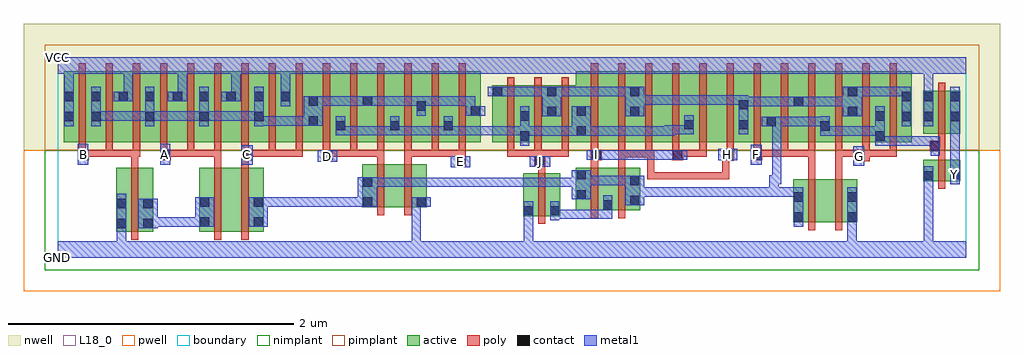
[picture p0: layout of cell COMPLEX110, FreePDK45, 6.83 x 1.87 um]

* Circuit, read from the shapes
.subckt COMPLEX110 A B C D E F G GND H I J VCC Y
M1 n1 B GND VSUBS nfet w=0.45u l=0.05u
M2 n2 A n1 VSUBS nfet w=0.45u l=0.05u
M3 n3 C n2 VSUBS nfet w=0.45u l=0.05u
M4 n4 D n3 VSUBS nfet w=0.3u l=0.05u
M5 GND E n4 VSUBS nfet w=0.3u l=0.05u
M6 n5 J GND VSUBS nfet w=0.3u l=0.05u
M7 n5 I n3 VSUBS nfet w=0.3u l=0.05u
M8 n3 H n5 VSUBS nfet w=0.3u l=0.05u
M9 n6 F n3 VSUBS nfet w=0.3u l=0.05u
M10 GND G n6 VSUBS nfet w=0.3u l=0.05u
M11 Y n3 GND VSUBS nfet w=0.15u l=0.05u
M12 n7 B VCC n8 pfet w=0.5u l=0.05u m=3
M13 VCC A n7 n8 pfet w=0.5u l=0.05u m=3
M14 n7 C VCC n8 pfet w=0.5u l=0.05u m=3
M15 n9 D n7 n8 pfet w=0.5u l=0.05u m=3
M16 n7 E n9 n8 pfet w=0.5u l=0.05u m=3
M17 n9 J n10 n8 pfet w=0.4u l=0.05u m=3
M18 n11 I n9 n8 pfet w=0.5u l=0.05u
M19 n10 H n11 n8 pfet w=0.5u l=0.05u
M20 n12 H n10 n8 pfet w=0.5u l=0.05u
M21 n9 I n12 n8 pfet w=0.5u l=0.05u
M22 n13 I n9 n8 pfet w=0.5u l=0.05u
M23 n10 H n13 n8 pfet w=0.5u l=0.05u
M24 n3 F n10 n8 pfet w=0.5u l=0.05u m=3
M25 n10 G n3 n8 pfet w=0.5u l=0.05u m=3
M26 Y n3 VCC n8 pfet w=0.3u l=0.05u
.ends

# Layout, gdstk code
import gdstk
lib = gdstk.Library(unit=1e-6, precision=1e-09)
def R(c, l, rs):  # rectangles x0, y0, x1, y1
    for r in rs: c.add(gdstk.rectangle(r[:2], r[2:], *l))
def A(c, l, x, y, w, h, nx, ny, dx, dy):  # array of equal rectangles
    R(c, l, [(x+i*dx, y+j*dy, x+i*dx+w, y+j*dy+h) for i in range(nx) for j in range(ny)])
active = (1, 0)
pwell = (2, 0)
nwell = (3, 0)
nimplant = (4, 0)
pimplant = (5, 0)
poly = (9, 0)
contact = (10, 0)
metal1 = (11, 0)
L18_0 = (18, 0)
boundary = (235, 0)

complex110 = lib.new_cell('COMPLEX110')
A(complex110, active, 0.042, 0.805, 0.075, 0.5, 3, 1, 0.38, 0)
A(complex110, active, 1.372, 0.805, 0.075, 0.395, 3, 1, 0.38, 0)
A(complex110, active, 1.752, 0.805, 0.265, 0.5, 3, 1, 0.19, 0)
A(complex110, active, 3.852, 0.805, 0.225, 0.5, 3, 1, 0.38, 0)
R(complex110, active, [(0.41,0.18,0.67,0.63), (0.992,0.18,1.217,0.63), (1.217,0.18,1.442,0.63), (0.41,0.2,0.485,0.63), (0.595,0.2,0.67,0.63), (0.992,0.2,1.067,0.63), (1.367,0.2,1.442,0.63), (5.147,0.247,5.222,0.547), (5.147,0.247,5.372,0.547), (5.372,0.247,5.597,0.547), (5.522,0.247,5.597,0.547), (3.257,0.29,3.517,0.59), (3.257,0.29,3.332,0.392), (3.442,0.29,3.517,0.392), (3.627,0.33,3.887,0.63), (3.812,0.33,4.077,0.63), (3.812,0.33,3.887,0.405), (3.627,0.332,3.702,0.63), (4.002,0.332,4.077,0.63), (2.132,0.352,2.207,0.652), (2.132,0.352,2.357,0.652), (2.357,0.352,2.582,0.652), (2.507,0.352,2.582,0.652), (6.057,0.535,6.317,0.685), (6.057,0.535,6.132,0.685), (6.242,0.542,6.317,0.685), (0.042,0.805,0.307,1.305), (0.232,0.805,0.307,1.2), (0.232,0.805,0.497,1.305), (0.422,0.805,0.682,1.305), (0.607,0.805,0.682,1.2), (0.607,0.805,0.877,1.305), (0.802,0.805,1.062,1.305), (0.987,0.805,1.062,1.2), (0.987,0.805,1.252,1.305), (1.177,0.805,1.447,1.305), (1.372,0.805,1.632,1.305), (1.557,0.805,1.827,1.305), (1.557,0.805,1.632,1.305), (1.942,0.805,2.017,1.07), (2.322,0.805,2.582,1.305), (2.322,0.805,2.397,1.07), (2.507,0.805,2.582,1.2), (2.507,0.805,2.772,1.305), (2.697,0.805,2.772,1.07), (2.697,0.805,2.962,1.305), (2.887,0.805,2.962,1.2), (3.042,0.805,3.117,1.2), (3.042,0.805,3.307,1.205), (3.232,0.805,3.307,1.07), (3.232,0.805,3.495,1.205), (3.42,0.805,3.495,1.2), (3.42,0.805,3.702,1.205), (3.627,0.805,3.702,1.07), (3.627,0.805,3.852,1.305), (4.002,0.805,4.077,1.2), (4.002,0.805,4.232,1.305), (4.382,0.805,4.457,1.07), (4.382,0.805,4.612,1.305), (4.762,0.805,4.837,1.2), (4.762,0.805,5.032,1.305), (4.957,0.805,5.032,1.07), (4.957,0.805,5.222,1.305), (5.147,0.805,5.222,1.2), (5.147,0.805,5.407,1.305), (5.332,0.805,5.407,1.07), (5.332,0.805,5.6,1.305), (5.525,0.805,5.6,1.2), (5.525,0.805,5.792,1.305), (5.717,0.805,5.977,1.305), (5.717,0.805,5.792,1.07), (5.902,0.805,5.977,1.2), (1.177,0.807,1.252,1.305), (6.057,0.867,6.132,1.167), (6.057,0.867,6.317,1.167), (6.242,0.867,6.317,1.165)])
R(complex110, pwell, [(-0.235,-0.235,6.595,0.75)])
R(complex110, nwell, [(-0.235,0.75,6.595,1.635)])
R(complex110, nimplant, [(-0.09,-0.09,6.45,0.75)])
R(complex110, pimplant, [(-0.09,0.75,6.45,1.49)])
A(complex110, poly, 0.147, 0.705, 0.05, 0.095, 15, 1, 0.19, 0)
A(complex110, poly, 0.907, 0.705, 0.24, 0.05, 3, 1, 0.57, 0)
A(complex110, poly, 3.147, 0.705, 0.05, 0.095, 3, 1, 0.19, 0)
A(complex110, poly, 4.872, 0.705, 0.05, 0.095, 6, 1, 0.19, 0)
A(complex110, poly, 0.147, 0.75, 0.05, 0.61, 15, 1, 0.19, 0)
A(complex110, poly, 3.147, 0.75, 0.05, 0.51, 3, 1, 0.19, 0)
A(complex110, poly, 3.732, 0.75, 0.05, 0.61, 12, 1, 0.19, 0)
R(complex110, poly, [(0.515,0.125,0.565,0.685), (1.097,0.125,1.147,0.685), (1.287,0.125,1.337,0.685), (5.252,0.192,5.302,0.602), (5.442,0.192,5.492,0.602), (3.362,0.235,3.412,0.645), (3.732,0.275,3.782,0.685), (3.922,0.275,3.972,0.685), (2.237,0.297,2.287,0.707), (2.427,0.297,2.477,0.707), (6.162,0.48,6.212,0.74), (4.127,0.547,4.177,0.597), (4.127,0.547,4.177,0.597), (4.127,0.547,4.177,0.597), (4.127,0.547,4.177,0.597), (4.127,0.547,4.177,0.597), (4.127,0.547,4.41,0.597), (4.127,0.547,4.177,0.752), (4.36,0.547,4.41,0.597), (4.36,0.547,4.41,0.597), (4.36,0.547,4.41,0.597), (4.36,0.547,4.57,0.597), (4.52,0.547,4.57,0.597), (4.52,0.547,4.702,0.597), (4.652,0.547,4.702,0.597), (4.652,0.547,4.702,0.597), (4.652,0.547,4.702,0.597), (4.652,0.547,4.702,0.727), (5.252,0.552,5.302,0.755), (5.442,0.552,5.492,0.755), (3.362,0.595,3.412,0.69), (0.515,0.635,0.565,0.755), (1.097,0.635,1.147,0.755), (1.287,0.635,1.337,0.73), (3.732,0.635,3.782,0.73), (3.922,0.635,3.972,0.752), (2.782,0.64,2.857,0.755), (3.337,0.64,3.412,0.755), (2.237,0.657,2.287,0.755), (2.427,0.657,2.477,0.755), (5.575,0.675,5.682,0.755), (4.652,0.677,4.702,0.727), (4.652,0.677,4.702,0.727), (4.652,0.677,4.732,0.752), (0.142,0.68,0.217,0.755), (0.717,0.68,0.792,0.755), (1.287,0.68,1.362,0.755), (1.852,0.68,1.927,0.755), (3.732,0.68,3.807,0.755), (4.302,0.68,4.377,0.755), (4.857,0.68,4.932,0.755), (6.162,0.69,6.212,0.792), (3.922,0.702,3.972,0.752), (3.922,0.702,3.972,0.752), (3.922,0.702,3.972,0.752), (3.922,0.702,4.162,0.752), (3.922,0.702,3.972,0.8), (4.112,0.702,4.162,0.8), (4.112,0.702,4.177,0.752), (4.682,0.702,4.732,0.8), (0.167,0.705,0.387,0.755), (0.337,0.705,0.387,0.755), (0.337,0.705,0.387,0.755), (0.337,0.705,0.387,0.755), (0.337,0.705,0.565,0.755), (0.515,0.705,0.565,0.755), (0.515,0.705,0.565,0.755), (0.515,0.705,0.577,0.755), (0.742,0.705,0.792,0.755), (0.742,0.705,0.792,0.755), (0.742,0.705,0.957,0.755), (0.907,0.705,0.957,0.755), (0.907,0.705,0.957,0.755), (0.907,0.705,0.957,0.755), (1.097,0.705,1.147,0.755), (1.312,0.705,1.527,0.755), (1.477,0.705,1.527,0.755), (1.477,0.705,1.527,0.755), (1.477,0.705,1.527,0.755), (1.667,0.705,1.717,0.755), (1.667,0.705,1.717,0.755), (1.667,0.705,1.717,0.755), (1.877,0.705,2.097,0.755), (2.047,0.705,2.097,0.755), (2.047,0.705,2.097,0.755), (2.047,0.705,2.097,0.755), (2.237,0.705,2.287,0.755), (2.237,0.705,2.287,0.755), (2.237,0.705,2.287,0.755), (2.427,0.705,2.477,0.755), (2.427,0.705,2.477,0.755), (2.427,0.705,2.477,0.755), (2.427,0.705,2.667,0.755), (2.617,0.705,2.667,0.755), (2.617,0.705,2.832,0.755), (2.782,0.705,2.832,0.755), (2.782,0.705,2.832,0.755), (3.147,0.705,3.197,0.755), (3.147,0.705,3.387,0.755), (3.337,0.705,3.387,0.755), (3.337,0.705,3.387,0.755), (3.362,0.705,3.577,0.755), (3.527,0.705,3.577,0.755), (3.527,0.705,3.577,0.755), (3.527,0.705,3.577,0.755), (3.732,0.705,3.782,0.8), (4.302,0.705,4.352,0.8), (4.327,0.705,4.542,0.755), (4.492,0.705,4.542,0.8), (4.492,0.705,4.542,0.755), (4.492,0.705,4.542,0.755), (4.492,0.705,4.542,0.755), (4.882,0.705,4.932,0.755), (4.882,0.705,4.932,0.755), (4.882,0.705,5.112,0.755), (5.062,0.705,5.112,0.755), (5.062,0.705,5.302,0.755), (5.252,0.705,5.302,0.755), (5.252,0.705,5.302,0.755), (5.252,0.705,5.302,0.755), (5.442,0.705,5.492,0.755), (5.442,0.705,5.492,0.755), (5.442,0.705,5.492,0.755), (5.442,0.705,5.625,0.755), (5.632,0.705,5.872,0.755), (5.822,0.705,5.872,0.755), (5.822,0.705,5.872,0.755), (5.822,0.705,5.872,0.755), (6.105,0.742,6.212,0.817), (6.162,0.767,6.212,0.862), (6.162,0.812,6.212,1.222)])
A(complex110, contact, 0.047, 1.095, 0.065, 0.065, 3, 1, 0.19, 0)
R(complex110, contact, [(0.415,0.205,0.48,0.27), (0.6,0.205,0.665,0.27), (0.997,0.217,1.062,0.282), (1.372,0.217,1.437,0.282), (5.152,0.252,5.217,0.317), (5.527,0.252,5.592,0.317), (3.262,0.295,3.327,0.36), (3.447,0.295,3.512,0.36), (3.817,0.335,3.882,0.4), (0.415,0.345,0.48,0.41), (0.6,0.345,0.665,0.41), (0.997,0.357,1.062,0.422), (1.372,0.357,1.437,0.422), (2.137,0.357,2.202,0.422), (2.512,0.357,2.577,0.422), (4.007,0.367,4.072,0.432), (5.152,0.392,5.217,0.457), (5.527,0.392,5.592,0.457), (3.632,0.407,3.697,0.472), (2.137,0.497,2.202,0.562), (4.007,0.507,4.072,0.572), (6.062,0.54,6.127,0.605), (3.632,0.547,3.697,0.612), (6.247,0.547,6.312,0.612), (2.787,0.645,2.852,0.71), (3.342,0.645,3.407,0.71), (5.58,0.68,5.645,0.745), (4.657,0.682,4.722,0.747), (0.147,0.685,0.212,0.75), (0.722,0.685,0.787,0.75), (1.292,0.685,1.357,0.75), (1.857,0.685,1.922,0.75), (3.737,0.685,3.802,0.75), (4.307,0.685,4.372,0.75), (4.862,0.685,4.927,0.75), (6.11,0.747,6.175,0.812), (3.237,0.817,3.302,0.882), (5.722,0.817,5.787,0.882), (3.632,0.852,3.697,0.917), (5.337,0.887,5.402,0.952), (1.947,0.89,2.012,0.955), (2.327,0.89,2.392,0.955), (2.702,0.89,2.767,0.955), (4.387,0.897,4.452,0.962), (4.767,0.897,4.832,0.962), (4.962,0.92,5.027,0.985), (1.757,0.922,1.822,0.987), (0.047,0.955,0.112,1.02), (0.237,0.955,0.302,1.02), (0.612,0.955,0.677,1.02), (0.992,0.955,1.057,1.02), (1.377,0.955,1.442,1.02), (5.907,0.955,5.972,1.02), (6.062,0.955,6.127,1.02), (6.247,0.955,6.312,1.02), (3.237,0.957,3.302,1.022), (5.722,0.957,5.787,1.022), (3.425,0.99,3.49,1.055), (4.007,0.99,4.072,1.055), (5.53,0.99,5.595,1.055), (2.892,0.992,2.957,1.057), (3.632,0.992,3.697,1.057), (2.512,1.027,2.577,1.092), (4.767,1.037,4.832,1.102), (5.152,1.06,5.217,1.125), (1.757,1.062,1.822,1.127), (2.137,1.062,2.202,1.127), (0.612,1.095,0.677,1.16), (0.807,1.095,0.872,1.16), (0.992,1.095,1.057,1.16), (1.182,1.095,1.247,1.16), (1.377,1.095,1.442,1.16), (1.562,1.095,1.627,1.16), (5.907,1.095,5.972,1.16), (6.062,1.095,6.127,1.16), (6.247,1.095,6.312,1.16), (3.047,1.13,3.112,1.195), (3.425,1.13,3.49,1.195), (4.007,1.13,4.072,1.195), (5.53,1.13,5.595,1.195)])
R(complex110, metal1, [(0,0,6.36,0.115), (0.415,0.05,0.48,0.115), (0.415,0.05,0.48,0.115), (0.415,0.05,0.48,0.235), (2.477,0.05,2.542,0.115), (2.477,0.05,2.542,0.115), (2.477,0.05,2.542,0.422), (3.262,0.05,3.327,0.325), (3.262,0.05,3.327,0.115), (3.262,0.05,3.327,0.115), (3.262,0.05,3.327,0.115), (3.262,0.05,3.327,0.115), (5.527,0.05,5.592,0.115), (5.527,0.05,5.592,0.115), (5.527,0.05,5.592,0.282), (6.062,0.05,6.127,0.115), (6.062,0.05,6.127,0.115), (6.062,0.05,6.127,0.115), (6.062,0.05,6.127,0.115), (6.062,0.05,6.127,0.115), (6.062,0.05,6.127,0.115), (6.062,0.05,6.127,0.57), (0.415,0.17,0.48,0.445), (0.565,0.205,0.7,0.41), (0.635,0.217,0.89,0.282), (0.825,0.217,0.89,0.282), (0.825,0.217,0.89,0.282), (0.825,0.217,0.89,0.282), (0.825,0.217,1.027,0.282), (0.962,0.217,1.027,0.282), (0.962,0.217,1.027,0.282), (0.962,0.217,1.097,0.422), (1.337,0.217,1.472,0.422), (5.152,0.217,5.217,0.492), (5.527,0.217,5.592,0.492), (5.527,0.217,5.592,0.282), (5.527,0.217,5.592,0.282), (3.262,0.26,3.327,0.395), (3.447,0.26,3.512,0.395), (3.447,0.27,3.512,0.335), (3.447,0.27,3.512,0.335), (3.447,0.27,3.732,0.335), (3.667,0.27,3.732,0.335), (3.667,0.27,3.732,0.335), (3.667,0.27,3.732,0.335), (3.667,0.27,3.882,0.335), (3.817,0.27,3.882,0.435), (1.407,0.357,1.472,0.422), (1.407,0.357,1.472,0.422), (1.407,0.357,1.65,0.422), (1.585,0.357,1.65,0.422), (1.585,0.357,1.65,0.422), (1.585,0.357,1.65,0.422), (1.585,0.357,1.787,0.422), (1.722,0.357,1.787,0.422), (1.722,0.357,1.787,0.422), (1.722,0.357,1.787,0.422), (1.722,0.357,2.03,0.422), (1.965,0.357,2.03,0.422), (1.965,0.357,2.03,0.422), (1.965,0.357,2.03,0.422), (1.965,0.357,2.167,0.422), (2.102,0.357,2.237,0.562), (2.477,0.357,2.542,0.422), (2.477,0.357,2.542,0.422), (2.477,0.357,2.612,0.422), (3.972,0.367,4.107,0.572), (3.597,0.407,3.732,0.612), (4.042,0.427,4.175,0.492), (4.11,0.427,4.175,0.492), (4.11,0.427,4.315,0.492), (4.25,0.427,4.315,0.492), (4.25,0.427,4.315,0.492), (4.25,0.427,4.315,0.492), (4.25,0.427,4.452,0.492), (4.387,0.427,4.452,0.492), (4.387,0.427,4.452,0.492), (4.387,0.427,4.452,0.492), (4.387,0.427,4.695,0.492), (4.63,0.427,4.695,0.492), (4.63,0.427,4.695,0.492), (4.63,0.427,4.695,0.492), (4.63,0.427,4.832,0.492), (4.767,0.427,4.832,0.492), (4.767,0.427,4.832,0.492), (4.767,0.427,4.832,0.492), (4.767,0.427,5.045,0.492), (4.98,0.427,5.045,0.492), (4.98,0.427,5.217,0.492), (4.98,0.427,5.045,0.577), (5.152,0.427,5.217,0.492), (5.152,0.427,5.217,0.492), (2.172,0.495,2.237,0.56), (2.172,0.495,2.237,0.56), (2.172,0.495,2.405,0.56), (2.34,0.495,2.405,0.56), (2.34,0.495,2.405,0.56), (2.34,0.495,2.405,0.56), (2.34,0.495,2.542,0.56), (2.477,0.495,2.542,0.56), (2.477,0.495,2.542,0.56), (2.477,0.495,2.542,0.56), (2.477,0.495,2.785,0.56), (2.72,0.495,2.785,0.56), (2.72,0.495,2.94,0.56), (2.875,0.495,2.94,0.56), (2.875,0.495,2.94,0.56), (2.875,0.495,2.94,0.56), (2.875,0.495,2.94,0.56), (2.875,0.495,2.94,0.56), (2.875,0.495,3.165,0.56), (3.1,0.495,3.165,0.56), (3.1,0.495,3.165,0.56), (3.1,0.495,3.165,0.56), (3.1,0.495,3.302,0.56), (3.237,0.495,3.302,0.56), (3.237,0.495,3.302,0.56), (3.237,0.495,3.302,0.56), (3.237,0.495,3.465,0.56), (3.4,0.495,3.465,0.56), (3.4,0.495,3.465,0.56), (3.4,0.495,3.465,0.56), (3.4,0.495,3.662,0.56), (6.062,0.505,6.127,0.64), (3.667,0.507,3.9,0.572), (3.835,0.507,3.9,0.572), (3.835,0.507,3.9,0.572), (3.835,0.507,3.9,0.572), (3.835,0.507,4.037,0.572), (3.972,0.507,4.037,0.572), (3.972,0.507,4.037,0.572), (4.98,0.512,5.065,0.577), (5,0.512,5.065,0.577), (5,0.512,5.065,0.577), (5,0.512,5.065,0.985), (6.247,0.512,6.312,0.647), (6.247,0.582,6.312,0.985), (6.247,0.582,6.312,0.647), (6.247,0.582,6.312,0.647), (6.247,0.582,6.312,0.647), (6.247,0.582,6.312,0.647), (2.752,0.632,2.887,0.71), (3.305,0.637,3.447,0.71), (5.567,0.642,5.645,0.78), (0.142,0.65,0.215,0.795), (0.717,0.65,0.787,0.797), (1.287,0.65,1.365,0.787), (4.852,0.65,4.927,0.79), (1.822,0.672,1.957,0.75), (4.622,0.682,4.757,0.76), (3.702,0.685,3.837,0.752), (3.772,0.685,3.87,0.75), (3.805,0.685,3.87,0.75), (3.805,0.685,4.037,0.75), (3.972,0.685,4.037,0.75), (3.972,0.685,4.037,0.75), (3.972,0.685,4.037,0.75), (3.972,0.685,4.175,0.75), (4.11,0.685,4.175,0.75), (4.11,0.685,4.245,0.75), (4.18,0.685,4.245,0.75), (4.18,0.685,4.337,0.75), (4.272,0.685,4.407,0.75), (6.11,0.712,6.175,0.847), (3.237,0.782,3.302,1.057), (5.722,0.782,5.787,1.057), (5.722,0.782,5.99,0.847), (5.925,0.782,5.99,0.847), (5.925,0.782,5.99,0.847), (5.925,0.782,5.99,0.847), (5.925,0.782,5.99,0.847), (5.925,0.782,5.99,0.847), (5.925,0.782,5.99,0.847), (5.925,0.782,5.99,0.847), (5.925,0.782,6.175,0.847), (6.11,0.782,6.175,0.847), (6.11,0.782,6.175,0.847), (3.237,0.852,3.302,0.917), (3.237,0.852,3.302,0.917), (3.237,0.852,3.525,0.917), (3.46,0.852,3.525,0.917), (3.46,0.852,3.525,0.917), (3.46,0.852,3.525,0.917), (3.46,0.852,3.662,0.917), (3.597,0.852,3.732,1.057), (3.667,0.852,3.87,0.917), (3.805,0.852,3.87,0.917), (3.805,0.852,3.87,0.917), (3.805,0.852,3.87,0.917), (3.805,0.852,4.037,0.917), (3.972,0.852,4.037,0.917), (3.972,0.852,4.037,0.917), (3.972,0.852,4.037,0.917), (3.972,0.852,4.175,0.917), (4.11,0.852,4.175,0.917), (4.11,0.852,4.315,0.917), (4.25,0.852,4.315,0.917), (4.25,0.852,4.315,0.917), (4.25,0.852,4.315,0.927), (5.337,0.852,5.402,0.987), (5.337,0.852,5.492,0.917), (5.427,0.852,5.492,0.917), (5.427,0.852,5.65,0.917), (5.585,0.852,5.65,0.917), (5.585,0.852,5.787,0.917), (5.722,0.852,5.787,0.917), (5.722,0.852,5.787,0.917), (1.947,0.855,2.012,0.99), (1.947,0.855,2.1,0.92), (2.035,0.855,2.1,0.92), (2.035,0.855,2.255,0.92), (2.19,0.855,2.255,0.92), (2.19,0.855,2.255,0.92), (2.19,0.855,2.255,0.92), (2.19,0.855,2.392,0.92), (2.327,0.855,2.392,0.92), (2.327,0.855,2.392,0.92), (2.327,0.855,2.392,0.99), (2.327,0.855,2.542,0.92), (2.477,0.855,2.542,0.92), (2.477,0.855,2.542,0.92), (2.477,0.855,2.542,0.92), (2.477,0.855,2.767,0.92), (2.702,0.855,2.767,0.99), (2.702,0.855,2.94,0.92), (2.875,0.855,2.94,0.92), (2.875,0.855,2.94,0.92), (2.875,0.855,2.94,0.92), (2.875,0.855,3.077,0.92), (3.012,0.855,3.077,0.92), (3.012,0.855,3.077,0.92), (3.012,0.855,3.077,0.92), (3.012,0.855,3.302,0.92), (4.25,0.862,4.452,0.927), (4.387,0.862,4.452,0.997), (4.767,0.862,4.832,1.137), (0.047,0.92,0.112,1.195), (0.237,0.92,0.302,1.195), (0.612,0.92,0.677,1.195), (0.992,0.92,1.057,1.195), (1.377,0.92,1.442,1.195), (4.927,0.92,5.065,0.985), (4.98,0.92,5.045,0.985), (4.98,0.92,5.045,0.985), (4.98,0.92,5.202,0.985), (5.137,0.92,5.202,0.985), (5.137,0.92,5.202,0.985), (5.137,0.92,5.202,0.985), (5.137,0.92,5.355,0.985), (5.29,0.92,5.355,0.985), (5.29,0.92,5.402,0.985), (5.907,0.92,5.972,1.195), (6.062,0.92,6.127,1.195), (6.247,0.92,6.312,1.195), (1.377,0.922,1.472,0.987), (1.407,0.922,1.472,0.987), (1.407,0.922,1.61,0.987), (1.545,0.922,1.61,0.987), (1.545,0.922,1.61,0.987), (1.545,0.922,1.61,0.987), (1.545,0.922,1.787,0.987), (1.722,0.922,1.857,1.127), (0.237,0.957,0.302,1.022), (0.237,0.957,0.302,1.022), (0.237,0.957,0.44,1.022), (0.375,0.957,0.44,1.022), (0.375,0.957,0.645,1.022), (0.58,0.957,0.645,1.022), (0.58,0.957,0.677,1.022), (0.612,0.957,0.89,1.022), (0.825,0.957,0.89,1.022), (0.825,0.957,0.89,1.022), (0.825,0.957,0.89,1.022), (0.825,0.957,1.057,1.022), (0.992,0.957,1.057,1.022), (0.992,0.957,1.057,1.022), (0.992,0.957,1.195,1.022), (1.13,0.957,1.195,1.022), (1.13,0.957,1.195,1.022), (1.13,0.957,1.195,1.022), (1.13,0.957,1.332,1.022), (1.267,0.957,1.332,1.022), (1.267,0.957,1.442,1.022), (3.39,0.99,3.525,1.195), (3.972,0.99,4.107,1.195), (5.495,0.99,5.63,1.195), (2.512,0.992,2.577,1.127), (2.857,0.992,2.922,1.057), (2.857,0.992,2.922,1.127), (2.857,0.992,2.992,1.057), (1.562,1.06,1.627,1.195), (4.767,1.06,4.832,1.125), (4.767,1.06,4.832,1.125), (4.767,1.06,4.97,1.125), (4.905,1.06,4.97,1.125), (4.905,1.06,5.182,1.125), (5.117,1.06,5.182,1.125), (5.117,1.06,5.182,1.125), (5.117,1.06,5.252,1.125), (5.187,1.06,5.355,1.125), (5.29,1.06,5.355,1.125), (5.29,1.06,5.39,1.125), (5.325,1.06,5.39,1.125), (5.325,1.06,5.492,1.125), (5.427,1.06,5.492,1.125), (5.427,1.06,5.56,1.125), (1.792,1.062,1.857,1.127), (1.792,1.062,1.857,1.127), (1.792,1.062,1.995,1.127), (1.93,1.062,1.995,1.127), (1.93,1.062,1.995,1.127), (1.93,1.062,1.995,1.127), (1.93,1.062,2.167,1.127), (2.102,1.062,2.237,1.127), (2.172,1.062,2.237,1.127), (2.172,1.062,2.237,1.127), (2.172,1.062,2.392,1.127), (2.327,1.062,2.392,1.127), (2.327,1.062,2.392,1.127), (2.327,1.062,2.392,1.127), (2.327,1.062,2.577,1.127), (2.512,1.062,2.577,1.127), (2.512,1.062,2.577,1.127), (2.512,1.062,2.785,1.127), (2.72,1.062,2.785,1.127), (2.72,1.062,2.922,1.127), (4.042,1.07,4.175,1.135), (4.11,1.07,4.175,1.135), (4.11,1.07,4.315,1.135), (4.25,1.07,4.315,1.135), (4.25,1.07,4.315,1.135), (4.25,1.07,4.315,1.135), (4.25,1.07,4.452,1.135), (4.387,1.07,4.452,1.135), (4.387,1.07,4.452,1.135), (4.387,1.07,4.452,1.135), (4.387,1.07,4.59,1.135), (4.525,1.07,4.59,1.135), (4.525,1.07,4.59,1.135), (4.525,1.07,4.59,1.135), (4.525,1.07,4.832,1.135), (0.392,1.095,0.527,1.16), (0.462,1.095,0.527,1.35), (0.772,1.095,0.907,1.16), (0.842,1.095,0.907,1.35), (1.147,1.095,1.282,1.16), (1.217,1.095,1.282,1.35), (0.047,1.13,0.112,1.35), (1.562,1.13,1.627,1.35), (3.012,1.13,3.147,1.195), (3.082,1.13,3.147,1.195), (3.082,1.13,3.147,1.195), (3.082,1.13,3.317,1.195), (3.252,1.13,3.317,1.195), (3.252,1.13,3.317,1.195), (3.252,1.13,3.317,1.195), (3.252,1.13,3.455,1.195), (3.46,1.13,3.525,1.195), (3.46,1.13,3.525,1.195), (3.46,1.13,3.732,1.195), (3.667,1.13,3.732,1.195), (3.667,1.13,3.732,1.195), (3.667,1.13,3.732,1.195), (3.667,1.13,3.87,1.195), (3.805,1.13,3.87,1.195), (3.805,1.13,4.037,1.195), (3.972,1.13,4.037,1.195), (3.972,1.13,4.037,1.195), (5.565,1.13,5.63,1.195), (5.565,1.13,5.63,1.195), (5.565,1.13,5.787,1.195), (5.722,1.13,5.787,1.195), (5.722,1.13,5.972,1.195), (5.907,1.13,5.972,1.195), (5.907,1.13,5.972,1.195), (6.062,1.13,6.127,1.195), (6.062,1.13,6.127,1.195), (6.062,1.13,6.127,1.35), (0,1.285,6.36,1.4)])
A(complex110, L18_0, 0.147, 0.687, 0.065, 0.065, 3, 1, 0.57, 0)
R(complex110, L18_0, [(0,0,6.36,0.115), (0.415,0.05,0.48,0.115), (0.415,0.05,0.48,0.115), (0.415,0.05,0.48,0.235), (2.477,0.05,2.542,0.115), (2.477,0.05,2.542,0.115), (2.477,0.05,2.542,0.422), (3.262,0.05,3.327,0.325), (3.262,0.05,3.327,0.115), (3.262,0.05,3.327,0.115), (3.262,0.05,3.327,0.115), (3.262,0.05,3.327,0.115), (5.527,0.05,5.592,0.115), (5.527,0.05,5.592,0.115), (5.527,0.05,5.592,0.282), (6.062,0.05,6.127,0.115), (6.062,0.05,6.127,0.115), (6.062,0.05,6.127,0.115), (6.062,0.05,6.127,0.115), (6.062,0.05,6.127,0.115), (6.062,0.05,6.127,0.115), (6.062,0.05,6.127,0.57), (0.415,0.17,0.48,0.445), (5.527,0.217,5.592,0.492), (5.527,0.217,5.592,0.282), (5.527,0.217,5.592,0.282), (3.262,0.26,3.327,0.395), (2.477,0.357,2.542,0.422), (2.477,0.357,2.542,0.422), (2.477,0.357,2.612,0.422), (6.062,0.505,6.127,0.64), (6.247,0.512,6.312,0.647), (6.247,0.547,6.312,0.612), (6.247,0.582,6.312,0.647), (6.247,0.582,6.312,0.647), (6.247,0.582,6.312,0.647), (6.247,0.582,6.312,0.647), (6.247,0.582,6.312,0.985), (2.752,0.632,2.887,0.71), (2.787,0.637,2.852,0.702), (3.305,0.637,3.447,0.71), (3.347,0.637,3.412,0.702), (5.567,0.642,5.645,0.78), (0.142,0.65,0.215,0.795), (0.717,0.65,0.787,0.797), (1.287,0.65,1.365,0.787), (4.852,0.65,4.927,0.79), (1.822,0.672,1.957,0.75), (1.857,0.677,1.922,0.742), (5.577,0.677,5.642,0.742), (4.622,0.682,4.757,0.76), (3.702,0.685,3.837,0.752), (3.772,0.685,3.87,0.75), (3.805,0.685,3.87,0.75), (3.805,0.685,4.037,0.75), (3.972,0.685,4.037,0.75), (3.972,0.685,4.037,0.75), (3.972,0.685,4.037,0.75), (3.972,0.685,4.175,0.75), (4.11,0.685,4.175,0.75), (4.11,0.685,4.245,0.75), (4.18,0.685,4.245,0.75), (4.18,0.685,4.337,0.75), (4.272,0.685,4.407,0.75), (3.737,0.687,3.802,0.752), (4.657,0.687,4.722,0.752), (4.857,0.687,4.922,0.752), (0.047,0.92,0.112,1.195), (6.062,0.92,6.127,1.195), (6.247,0.92,6.312,1.195), (1.562,1.06,1.627,1.195), (0.392,1.095,0.527,1.16), (0.462,1.095,0.527,1.35), (0.772,1.095,0.907,1.16), (0.842,1.095,0.907,1.35), (1.147,1.095,1.282,1.16), (1.217,1.095,1.282,1.35), (0.047,1.13,0.112,1.35), (1.562,1.13,1.627,1.35), (6.062,1.13,6.127,1.35), (6.062,1.13,6.127,1.195), (6.062,1.13,6.127,1.195), (0,1.285,6.36,1.4)])
R(complex110, boundary, [(0,0,6.36,1.4)])
complex110.add(gdstk.Label('A', (0.75,0.72), layer=11, texttype=0))
complex110.add(gdstk.Label('B', (0.18,0.72), layer=11, texttype=0))
complex110.add(gdstk.Label('C', (1.32,0.72), layer=11, texttype=0))
complex110.add(gdstk.Label('D', (1.89,0.71), layer=11, texttype=0))
complex110.add(gdstk.Label('E', (2.82,0.67), layer=11, texttype=0))
complex110.add(gdstk.Label('F', (4.89,0.72), layer=11, texttype=0))
complex110.add(gdstk.Label('G', (5.61,0.71), layer=11, texttype=0))
complex110.add(gdstk.Label('H', (4.69,0.72), layer=11, texttype=0))
complex110.add(gdstk.Label('I', (3.77,0.72), layer=11, texttype=0))
complex110.add(gdstk.Label('J', (3.38,0.67), layer=11, texttype=0))
complex110.add(gdstk.Label('Y', (6.28,0.58), layer=11, texttype=0))
complex110.add(gdstk.Label('VCC', (0,1.4), layer=11, texttype=0))
complex110.add(gdstk.Label('GND', (0,0), layer=11, texttype=0))

lib.write_gds('COMPLEX110.gds')
